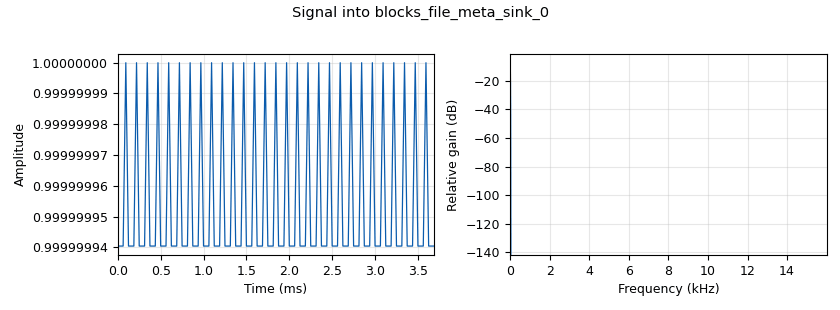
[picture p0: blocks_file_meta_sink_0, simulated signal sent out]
<?xml version='1.0' encoding='utf-8'?>
<?grc format='1' created='3.7.9'?>
<flow_graph>
<block>
<key>options</key>
<param><key>id</key><value>top_block</value></param>
<param><key>category</key><value>Custom</value></param>
<param><key>generate_options</key><value>wx_gui</value></param>
</block>
<block>
<key>variable</key>
<param><key>id</key><value>samp_rate</value></param>
<param><key>value</key><value>32000</value></param>
</block>
<block>
<key>analog_sig_source_x</key>
<param><key>id</key><value>analog_sig_source_x_0</value></param>
<param><key>amp</key><value>1</value></param>
<param><key>freq</key><value>10000</value></param>
<param><key>offset</key><value>0</value></param>
<param><key>type</key><value>complex</value></param>
<param><key>samp_rate</key><value>samp_rate</value></param>
<param><key>waveform</key><value>analog.GR_COS_WAVE</value></param>
</block>
<block>
<key>blocks_complex_to_mag_squared</key>
<param><key>id</key><value>blocks_complex_to_mag_squared_0</value></param>
</block>
<block>
<key>blocks_file_meta_sink</key>
<param><key>id</key><value>blocks_file_meta_sink_0</value></param>
<param><key>detached</key><value>False</value></param>
<param><key>extra_dict</key><value>""</value></param>
<param><key>file</key><value>/home/beacon/Documents/GNUradio/data.fc32</value></param>
<param><key>type</key><value>float</value></param>
<param><key>max_seg_size</key><value>1000000</value></param>
<param><key>rel_rate</key><value>1</value></param>
<param><key>samp_rate</key><value>samp_rate</value></param>
</block>
<block>
<key>blocks_throttle</key>
<param><key>id</key><value>blocks_throttle_0</value></param>
<param><key>samples_per_second</key><value>samp_rate</value></param>
<param><key>type</key><value>complex</value></param>
</block>
<connection><source_block_id>analog_sig_source_x_0</source_block_id><sink_block_id>blocks_throttle_0</sink_block_id><source_key>0</source_key><sink_key>0</sink_key></connection>
<connection><source_block_id>blocks_complex_to_mag_squared_0</source_block_id><sink_block_id>blocks_file_meta_sink_0</sink_block_id><source_key>0</source_key><sink_key>0</sink_key></connection>
<connection><source_block_id>blocks_throttle_0</source_block_id><sink_block_id>blocks_complex_to_mag_squared_0</sink_block_id><source_key>0</source_key><sink_key>0</sink_key></connection>
</flow_graph>
